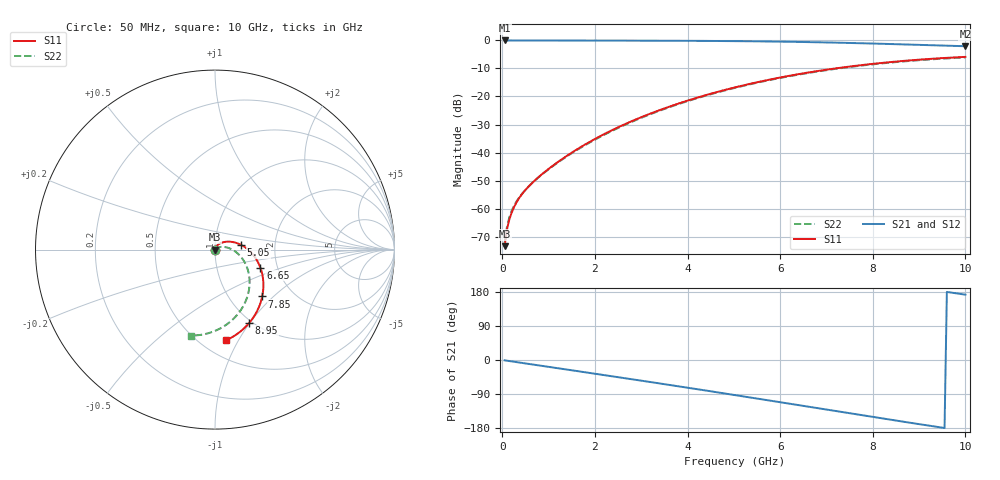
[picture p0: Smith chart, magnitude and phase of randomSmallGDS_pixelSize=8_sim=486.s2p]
! freq	dB(S11)	phase(S11)	dB(S12)	phase(S12)
!  dB(S21)	phase(S21)	dB(S22)	phase(S22)
!S-par simulation data
#  GHz  S  DB  R 50
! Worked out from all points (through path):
!   200 points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, 50 MHz to 10 GHz, reference 50 ohm
!   highest |S21| = 0.00 dB at 50 MHz (marker M1); lowest = -2.1 dB at 10 GHz (marker M2)
!   group delay of S21, straight-line fit = 52.6 ps
!   lowest |S11| = -73.4 dB at 50 MHz (marker M3), VSWR 1.00, Z = 50 + j0.0209 ohm
!   |S11| at or under -10 dB: start of sweep to 7.183 GHz
!   |S22| runs from -72.4 to -6.1 dB; largest |S21 - S12| = 0
!   S11 on the Smith chart (normalised r, x): 50 MHz: 1.00, +0.00; 5.05 GHz: 1.34, +0.07; 6.65 GHz: 1.63, -0.35; 7.85 GHz: 1.41, -0.85; 8.95 GHz: 0.97, -0.99; 10 GHz: 0.65, -0.89
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0.05  -73.42 78.1  -0.00 -0.9  -0.00 -0.9  -72.41 76.2
0.1  -67.53 83.3  -0.00 -1.8  -0.00 -1.8  -66.59 77.7
0.15  -64.03 84.9  -0.00 -2.7  -0.00 -2.7  -63.23 76.4
0.2  -61.53 85.5  -0.00 -3.7  -0.00 -3.7  -60.89 74.6
0.3  -57.98 85.8  -0.01 -5.5  -0.01 -5.5  -57.63 71.4
0.45  -54.33 86.0  -0.01 -8.2  -0.01 -8.2  -54.25 67.5
0.65  -50.76 86.1  -0.02 -11.8  -0.02 -11.8  -50.82 63.2
0.95  -46.49 85.4  -0.02 -17.2  -0.02 -17.2  -46.61 57.3
1.35  -41.67 82.0  -0.03 -24.4  -0.03 -24.4  -41.86 49.8
1.75  -37.50 76.3  -0.04 -31.6  -0.04 -31.6  -37.73 42.7
2.55  -30.61 61.3  -0.06 -46.2  -0.06 -46.2  -30.85 29.2
3.4  -24.84 44.0  -0.09 -61.9  -0.09 -61.9  -25.05 14.9
4.25  -20.21 26.6  -0.15 -77.8  -0.15 -77.8  -20.39 0.2
5.05  -16.65 10.4  -0.24 -93.0  -0.24 -93.0  -16.82 -14.0
5.85  -13.71 -5.7  -0.38 -108.5  -0.38 -108.5  -13.88 -28.7
6.65  -11.32 -21.6  -0.59 -124.1  -0.59 -124.1  -11.49 -43.6
6.7  -11.19 -22.6  -0.61 -125.1  -0.61 -125.1  -11.36 -44.6
7.3  -9.74 -34.3  -0.81 -136.8  -0.81 -136.8  -9.91 -55.8
7.85  -8.62 -44.8  -1.03 -147.4  -1.03 -147.4  -8.79 -66.2
8.35  -7.76 -54.1  -1.26 -157.0  -1.26 -157.0  -7.94 -75.4
8.95  -6.92 -65.0  -1.54 -168.3  -1.54 -168.3  -7.11 -86.5
10  -5.86 -83.1  -2.06 172.4  -2.06 172.4  -6.08 -105.4
